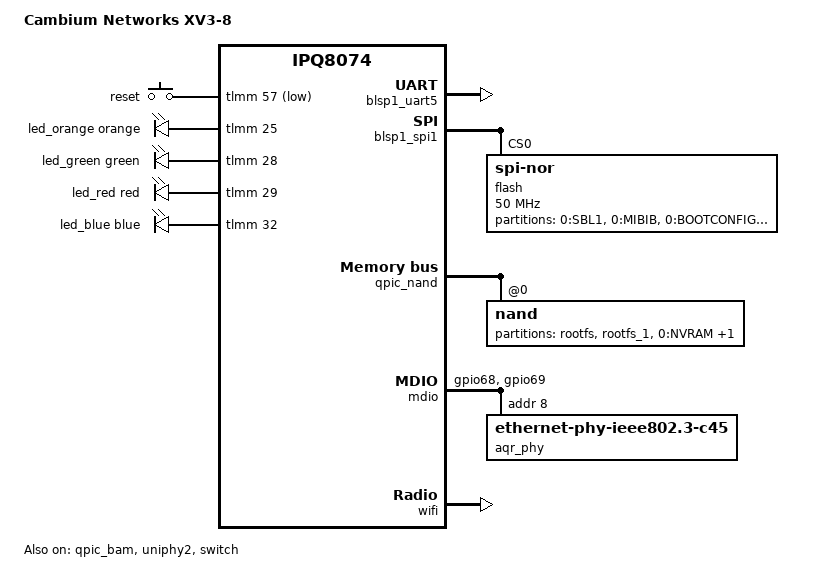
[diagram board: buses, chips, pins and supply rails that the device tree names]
// SPDX-License-Identifier: GPL-2.0-or-later OR MIT

/dts-v1/;

#include "ipq8074.dtsi"
#include "ipq8074-hk-cpu.dtsi"
#include "ipq8074-ess.dtsi"
#include <dt-bindings/input/input.h>
#include <dt-bindings/gpio/gpio.h>
#include <dt-bindings/leds/common.h>

/ {
	model = "Cambium Networks XV3-8";
	compatible = "cambiumnetworks,xv3-8", "qcom,ipq8074";

	aliases {
		serial0 = &blsp1_uart5;
		ethernet0 = &swport6;
		label-mac-device = &swport6;
		led-boot = &led_orange;
		led-failsafe = &led_red;
		led-running = &led_green;
		led-upgrade = &led_orange;
	};

	chosen {
		stdout-path = "serial0:115200n8";
	};

	cambium-platform {
		board-sku = <19>;
	};

	keys {
		compatible = "gpio-keys";

		reset {
			label = "reset";
			gpios = <&tlmm 57 GPIO_ACTIVE_LOW>;
			linux,code = <KEY_RESTART>;
			debounce-interval = <60>;
		};
	};

	leds {
		compatible = "gpio-leds";

		led_orange: led-orange {
			color = <LED_COLOR_ID_ORANGE>;
			function = LED_FUNCTION_STATUS;
			gpios = <&tlmm 25 GPIO_ACTIVE_HIGH>;
			default-state = "off";
		};

		led_green: led-green {
			color = <LED_COLOR_ID_GREEN>;
			function = LED_FUNCTION_STATUS;
			gpios = <&tlmm 28 GPIO_ACTIVE_HIGH>;
			default-state = "off";
		};

		led_red: led-red {
			color = <LED_COLOR_ID_RED>;
			function = LED_FUNCTION_STATUS;
			gpios = <&tlmm 29 GPIO_ACTIVE_HIGH>;
			default-state = "off";
		};

		led_blue: led-blue {
			color = <LED_COLOR_ID_BLUE>;
			function = LED_FUNCTION_STATUS;
			gpios = <&tlmm 32 GPIO_ACTIVE_HIGH>;
			default-state = "off";
		};
	};
};

&blsp1_uart5 {
	status = "okay";
};

&blsp1_spi1 {
	status = "okay";

	flash@0 {
		compatible = "jedec,spi-nor";
		reg = <0>;
		spi-max-frequency = <50000000>;

		partitions {
			compatible = "fixed-partitions";
			#address-cells = <1>;
			#size-cells = <1>;

			partition@0 {
				label = "0:SBL1";
				reg = <0x000000 0x050000>;
				read-only;
			};

			partition@50000 {
				label = "0:MIBIB";
				reg = <0x050000 0x010000>;
				read-only;
			};

			partition@60000 {
				label = "0:BOOTCONFIG";
				reg = <0x060000 0x020000>;
				read-only;
			};

			partition@80000 {
				label = "0:BOOTCONFIG1";
				reg = <0x080000 0x020000>;
				read-only;
			};

			partition@a0000 {
				label = "0:QSEE";
				reg = <0x0a0000 0x180000>;
				read-only;
			};

			partition@220000 {
				label = "0:QSEE_1";
				reg = <0x220000 0x180000>;
				read-only;
			};

			partition@3a0000 {
				label = "0:DEVCFG";
				reg = <0x3a0000 0x010000>;
				read-only;
			};

			partition@3b0000 {
				label = "0:DEVCFG_1";
				reg = <0x3b0000 0x010000>;
				read-only;
			};

			partition@3c0000 {
				label = "0:APDP";
				reg = <0x3c0000 0x010000>;
				read-only;
			};

			partition@3d0000 {
				label = "mfginfo";
				reg = <0x3d0000 0x010000>;
				read-only;
			};

			partition@3e0000 {
				label = "0:RPM";
				reg = <0x3e0000 0x040000>;
				read-only;
			};

			partition@420000 {
				label = "0:RPM_1";
				reg = <0x420000 0x040000>;
				read-only;
			};

			partition@460000 {
				label = "0:CDT";
				reg = <0x460000 0x010000>;
				read-only;
			};

			partition@470000 {
				label = "0:CDT_1";
				reg = <0x470000 0x010000>;
				read-only;
			};

			partition@480000 {
				label = "oldappsblenv";
				reg = <0x480000 0x010000>;
				read-only;
			};

			partition@490000 {
				label = "0:APPSBL";
				reg = <0x490000 0x0a0000>;
				read-only;
			};

			partition@530000 {
				label = "0:APPSBL_1";
				reg = <0x530000 0x0a0000>;
				read-only;
			};

			art: partition@5d0000 {
				label = "0:ART";
				reg = <0x5d0000 0x040000>;
				read-only;

				nvmem-layout {
					compatible = "fixed-layout";
					#address-cells = <1>;
					#size-cells = <1>;

					macaddr_base: mac-address@40 {
						compatible = "mac-base";
						reg = <0x40 0x6>;
						#nvmem-cell-cells = <1>;
					};

					/* The PCIe QCA9887 scanning radio's calibration and MAC. */
					caldata_qca9887: calibration@33000 {
						reg = <0x33000 0x844>;
					};
				};
			};

			ethphyfw: partition@610000 {
				label = "0:ETHPHYFW";
				reg = <0x610000 0x080000>;
				read-only;

				nvmem-layout {
					compatible = "fixed-layout";
					#address-cells = <1>;
					#size-cells = <1>;

					/* Skip the 40-byte Qualcomm MBN header. */
					aqr_fw: firmware@28 {
						reg = <0x28 0x4c002>;
					};
				};
			};

			partition@690000 {
				label = "0:APDP_1";
				reg = <0x690000 0x010000>;
				read-only;
			};

			appsblenv: partition@6a0000 {
				label = "0:APPSBLENV";
				reg = <0x6a0000 0x010000>;
				read-only;
			};

			partition@6b0000 {
				label = "config";
				reg = <0x6b0000 0x950000>;
				read-only;
			};
		};
	};
};

&qpic_bam {
	status = "okay";
};

&qpic_nand {
	status = "okay";

	nand@0 {
		reg = <0>;
		nand-ecc-strength = <4>;
		nand-ecc-step-size = <512>;
		nand-bus-width = <8>;

		partitions {
			compatible = "fixed-partitions";
			#address-cells = <1>;
			#size-cells = <1>;

			rootfs: partition@0 {
				label = "rootfs";
				reg = <0x0000000 0x6000000>;
				read-only;
			};

			rootfs_1: partition@6000000 {
				label = "rootfs_1";
				reg = <0x6000000 0x6000000>;
				read-only;
			};

			partition@c000000 {
				label = "0:NVRAM";
				reg = <0xc000000 0x3000000>;
				read-only;
			};

			partition@f000000 {
				label = "crashLog";
				reg = <0xf000000 0x1000000>;
				read-only;
			};
		};
	};
};

&edma {
	status = "okay";
};

&uniphy0 {
	status = "disabled";
};

&uniphy2 {
	status = "okay";
};

&switch {
	status = "okay";

	ports {
		#address-cells = <1>;
		#size-cells = <0>;

		port@0 {
			reg = <0>;
			ethernet = <&edma>;
			phy-mode = "internal";

			fixed-link {
				speed = <1000>;
				full-duplex;
			};
		};

		swport4: port@4 {
			reg = <4>;
			label = "lan";
			phy-handle = <&qca8075_3>;
			phy-mode = "psgmii";
			pcs-handle = <&uniphy0 3>;
			nvmem-cells = <&macaddr_base 0>;
			nvmem-cell-names = "mac-address";
			status = "disabled";
		};

		swport6: port@6 {
			reg = <6>;
			label = "lan-multigig";
			phy-handle = <&aqr_phy>;
			phy-mode = "usxgmii";
			managed = "in-band-status";
			pcs-handle = <&uniphy2 0>;
			nvmem-cells = <&macaddr_base 1>;
			nvmem-cell-names = "mac-address";
		};

	};
};

&tlmm {
	mdio_pins: mdio-pins {
		mdc {
			pins = "gpio68";
			function = "mdc";
			drive-strength = <8>;
			bias-pull-up;
		};

		mdio {
			pins = "gpio69";
			function = "mdio";
			drive-strength = <8>;
			bias-pull-up;
		};
	};
};

&mdio {
	status = "okay";
	pinctrl-0 = <&mdio_pins>;
	pinctrl-names = "default";

	qca8075_package: ethernet-phy-package@0 {
		#address-cells = <1>;
		#size-cells = <0>;
		compatible = "qcom,qca8075-package";
		reg = <0>;
		status = "disabled";

		qca8075_3: ethernet-phy@3 {
			compatible = "ethernet-phy-ieee802.3-c22";
			reg = <3>;
		};
	};

	aqr_phy: ethernet-phy@8 {
		compatible = "ethernet-phy-ieee802.3-c45";
		reg = <8>;
		nvmem-cells = <&aqr_fw>;
		nvmem-cell-names = "firmware";
	};

};

&wifi {
	status = "okay";
};
